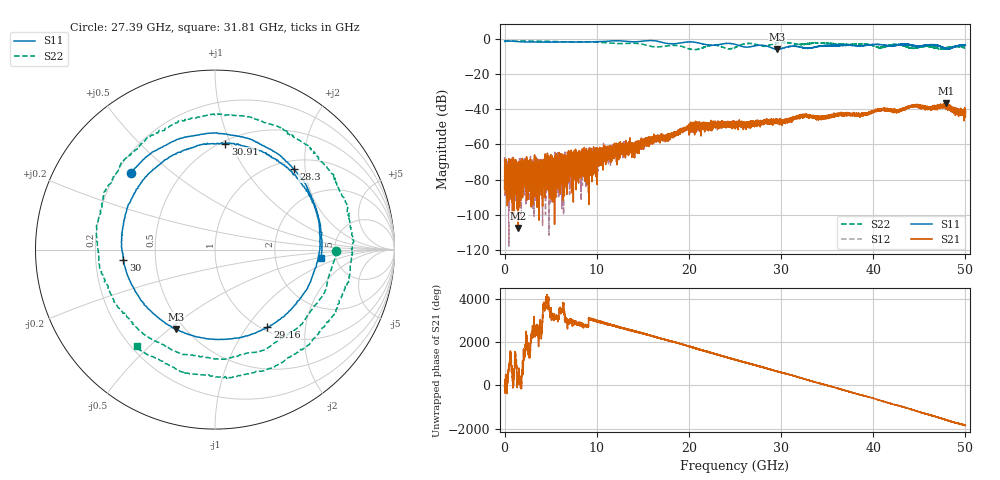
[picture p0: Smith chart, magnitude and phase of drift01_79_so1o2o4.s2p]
!Created with skrf (http://scikit-rf.org).
# Hz S RI R 50.0
!freq ReS11 ImS11 ReS21 ImS21 ReS12 ImS12 ReS22 ImS22
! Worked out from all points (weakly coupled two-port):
!   10001 points, 300 kHz to 50 GHz, reference 50 ohm
!   highest |S21| = -36.54 dB at 47.87 GHz (marker M1); lowest = -107.3 dB at 1.485 GHz (marker M2)
!   lowest |S11| = -6.2 dB at 29.58 GHz (marker M3), VSWR 2.94, Z = 22.6 - j26.4 ohm
!   |S11| at or under -10 dB: nowhere
!   |S22| runs from -6.4 to -1.4 dB; largest |S21 - S12| = 0.0042
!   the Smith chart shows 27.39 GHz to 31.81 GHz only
!   S11 on the Smith chart (normalised r, x): 27.39 GHz: 0.26, +0.37; 28.3 GHz: 1.17, +1.73; 29.16 GHz: 1.06, -1.26; 30 GHz: 0.32, -0.05; 30.91 GHz: 0.52, +0.95; 31.81 GHz: 3.83, -0.55
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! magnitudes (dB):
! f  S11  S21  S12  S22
! 300 kHz  -1.3  -85.3  -67.1  -2.1
! 260.3 MHz  -1.4  -78.3  -81.6  -1.4
! 1.485 GHz  -1.8  -107.3  -75.7  -1.4
! 5.105 GHz  -2.1  -71.8  -79.1  -1.6
! 8.335 GHz  -2.0  -66.9  -73.0  -1.8
! 16.67 GHz  -1.6  -56.5  -57.4  -4.8
! 20.33 GHz  -1.9  -48.5  -50.4  -6.2
! 22.62 GHz  -3.8  -49.4  -49.7  -3.8
! 25 GHz  -3.2  -47.9  -49.0  -5.0
! 27.39 GHz  -4.0  -47.7  -48.0  -3.4
! 28.3 GHz  -4.1  -46.9  -47.8  -4.4
! 29.16 GHz  -5.6  -46.3  -47.1  -3.1
! 29.58 GHz  -6.2  -46.1  -47.0  -2.6
! 30 GHz  -5.8  -47.3  -47.3  -2.3
! 30.91 GHz  -4.5  -45.4  -46.0  -2.5
! 31.81 GHz  -4.5  -44.8  -44.6  -3.2
! 33.34 GHz  -5.2  -43.6  -43.7  -2.8
! 41.67 GHz  -4.3  -40.0  -40.7  -3.9
! 44.53 GHz  -4.4  -37.6  -38.0  -5.2
! 46.49 GHz  -3.5  -38.6  -38.6  -4.4
! 47.87 GHz  -5.6  -36.5  -38.7  -5.3
! 50 GHz  -3.8  -41.6  -41.4  -5.3
